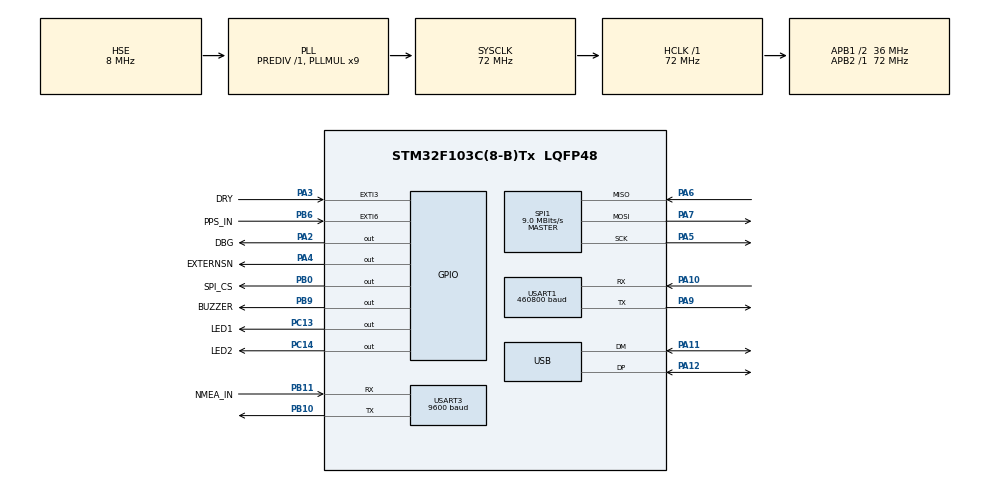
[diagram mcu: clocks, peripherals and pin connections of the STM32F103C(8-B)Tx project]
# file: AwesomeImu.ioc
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Dma.Request0=USART1_TX
Dma.USART1_TX.0.Direction=DMA_MEMORY_TO_PERIPH
Dma.USART1_TX.0.Instance=DMA1_Channel4
Dma.USART1_TX.0.MemDataAlignment=DMA_MDATAALIGN_BYTE
Dma.USART1_TX.0.MemInc=DMA_MINC_ENABLE
Dma.USART1_TX.0.Mode=DMA_NORMAL
Dma.USART1_TX.0.PeriphDataAlignment=DMA_PDATAALIGN_BYTE
Dma.USART1_TX.0.PeriphInc=DMA_PINC_DISABLE
Dma.USART1_TX.0.Priority=DMA_PRIORITY_LOW
Mcu.Family=STM32F1
Mcu.Name=STM32F103C(8-B)Tx
Mcu.Package=LQFP48
NVIC.DMA1_Channel4_IRQn=true\:0\:0\:false\:false\:true\:false\:true\:true
NVIC.EXTI3_IRQn=true\:0\:0\:false\:false\:true\:true\:true\:true
NVIC.PriorityGroup=NVIC_PRIORITYGROUP_4
NVIC.TIM2_IRQn=true\:0\:0\:false\:false\:true\:true\:true\:true
NVIC.USART1_IRQn=true\:0\:0\:false\:false\:true\:true\:true\:true
NVIC.USART3_IRQn=true\:3\:0\:false\:false\:true\:true\:true\:true
NVIC.USB_LP_CAN1_RX0_IRQn=true\:2\:0\:false\:false\:true\:false\:true\:true
PA10.Mode=Asynchronous
PA10.Signal=USART1_RX
PA11.Mode=Device
PA11.Signal=USB_DM
PA12.Mode=Device
PA12.Signal=USB_DP
PA13.Mode=Serial_Wire
PA13.Signal=SYS_JTMS-SWDIO
PA14.Mode=Serial_Wire
PA14.Signal=SYS_JTCK-SWCLK
PA2.GPIO_Label=DBG
PA2.Signal=GPIO_Output
PA3.GPIO_Label=DRY
PA3.Signal=GPXTI3
PA4.GPIO_Label=EXTERNSN
PA4.Signal=GPIO_Output
PA5.Mode=Full_Duplex_Master
PA5.Signal=SPI1_SCK
PA6.Mode=Full_Duplex_Master
PA6.Signal=SPI1_MISO
PA7.Mode=Full_Duplex_Master
PA7.Signal=SPI1_MOSI
PA9.Mode=Asynchronous
PA9.Signal=USART1_TX
PB0.GPIO_Label=SPI_CS
PB0.Signal=GPIO_Output
PB10.Mode=Asynchronous
PB10.Signal=USART3_TX
PB11.GPIO_Label=NMEA_IN
PB11.Mode=Asynchronous
PB11.Signal=USART3_RX
PB6.GPIO_Label=PPS_IN
PB6.GPIO_PuPd=GPIO_PULLDOWN
PB6.Signal=GPXTI6
PB9.GPIO_Label=BUZZER
PB9.Signal=GPIO_Output
PC13-TAMPER-RTC.GPIO_Label=LED1
PC13-TAMPER-RTC.Signal=GPIO_Output
PC14-OSC32_IN.GPIO_Label=LED2
PC14-OSC32_IN.Signal=GPIO_Output
PD0-OSC_IN.Mode=HSE-External-Oscillator
PD0-OSC_IN.Signal=RCC_OSC_IN
PD1-OSC_OUT.Mode=HSE-External-Oscillator
PD1-OSC_OUT.Signal=RCC_OSC_OUT
ProjectManager.HeapSize=0x200
ProjectManager.StackSize=0x400
ProjectManager.TargetToolchain=CMake
RCC.AHBFreq_Value=72000000
RCC.APB1CLKDivider=RCC_HCLK_DIV2
RCC.APB1Freq_Value=36000000
RCC.APB1TimFreq_Value=72000000
RCC.APB2Freq_Value=72000000
RCC.APB2TimFreq_Value=72000000
RCC.HCLKFreq_Value=72000000
RCC.PLLMUL=RCC_PLL_MUL9
RCC.PLLSourceVirtual=RCC_PLLSOURCE_HSE
RCC.SYSCLKFreq_VALUE=72000000
RCC.SYSCLKSource=RCC_SYSCLKSOURCE_PLLCLK
RCC.USBFreq_Value=48000000
RCC.USBPrescaler=RCC_USBCLKSOURCE_PLL_DIV1_5
SPI1.BaudRatePrescaler=SPI_BAUDRATEPRESCALER_8
SPI1.CLKPhase=SPI_PHASE_1EDGE
SPI1.CLKPolarity=SPI_POLARITY_LOW
SPI1.CRCCalculation=SPI_CRCCALCULATION_DISABLE
SPI1.CalculateBaudRate=9.0 MBits/s
SPI1.DataSize=SPI_DATASIZE_16BIT
SPI1.Direction=SPI_DIRECTION_2LINES
SPI1.FirstBit=SPI_FIRSTBIT_MSB
SPI1.Mode=SPI_MODE_MASTER
SPI1.VirtualType=VM_MASTER
TIM2.AutoReloadPreload=TIM_AUTORELOAD_PRELOAD_ENABLE
TIM2.Prescaler=64
USART1.BaudRate=460800
USART1.VirtualMode=VM_ASYNC
USART3.BaudRate=9600
USART3.Mode=MODE_RX
USART3.VirtualMode=VM_ASYNC
USB_DEVICE.CLASS_NAME_FS=CDC
USB_DEVICE.VirtualMode=Cdc
USB_DEVICE.VirtualMode-CDC_FS=Cdc
USB_DEVICE.VirtualModeFS=Cdc_FS
VP_RTC_VS_RTC_Activate.Mode=RTC_Enabled
VP_TIM2_VS_ClockSourceINT.Mode=Internal
VP_USB_DEVICE_VS_USB_DEVICE_CDC_FS.Mode=CDC_FS
board=custom

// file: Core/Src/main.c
/* USER CODE BEGIN Header */
/**
  ******************************************************************************
  * @file           : main.c
  * @brief          : Main program body
  ******************************************************************************
  * @attention
  *
  * Copyright (c) 2026 STMicroelectronics.
  * All rights reserved.
  *
  * This software is licensed under terms that can be found in the LICENSE file
  * in the root directory of this software component.
  * If no LICENSE file comes with this software, it is provided AS-IS.
  *
  ******************************************************************************
  */
/* USER CODE END Header */
#include "main.h"
#include "usb_device.h"

/* USER CODE BEGIN Includes */
#include "config.h"
#include "hw.h"
#include "SCH1.h"
#include "minmea.h"
#include "usbd_cdc_if.h"
#include <string.h>
/* USER CODE END Includes */

RTC_HandleTypeDef hrtc;

SPI_HandleTypeDef hspi1;

TIM_HandleTypeDef htim2;

UART_HandleTypeDef huart1;
UART_HandleTypeDef huart3;
DMA_HandleTypeDef hdma_usart1_tx;

/* USER CODE BEGIN PV */
volatile uint8_t  dry_flag = 0;
volatile uint32_t cyccnt_hi = 0;
volatile uint32_t cyccnt_prev = 0;
volatile uint64_t pps_posix_us = 0;
volatile uint64_t pps_cycles = 0;          // local cycle count at the last accepted PPS
volatile uint32_t pps_cycles_per_sec = 0;  // measured CPU clock, set to nominal in main
volatile uint64_t pending_posix_us = 0;
volatile uint64_t dry_timestamp_us = 0;
volatile uint8_t  dry_gps_status = 0;

// GPS sync status, sent with every sample (see README.md)
#define GPS_TIME_VALID  0x01  // locked to PPS at least once: timestamps are Unix time
#define GPS_PPS_OK      0x02  // last PPS accepted < 1.1 s ago; otherwise holding over
#define GPS_NMEA_OK     0x04  // valid RMC time received < 1 s ago
#define GPS_RATE_CAL    0x08  // CPU clock rate measured against PPS at least once
volatile uint8_t  gps_flags = 0;  // GPS_TIME_VALID and GPS_RATE_CAL, set by the PPS handler
volatile uint32_t pps_holdoff_count_ms = 0;
volatile uint32_t pps_nmea_age_ms = 0;
// Active buzzer from PB9 to GND: high = on. Beeps for
// BUZZER_BEEP_MS at each PPS pulse; SysTick counts down and turns it off.
#define BUZZER_BEEP_MS  100
volatile uint32_t buzzer_on_ms = 0;
static uint8_t nmea_rx_byte = 0;
static char    nmea_buf[100];
static uint8_t nmea_len = 0;
/* USER CODE END PV */

void SystemClock_Config(void);
static void MX_GPIO_Init(void);
static void MX_DMA_Init(void);
static void MX_RTC_Init(void);
static void MX_SPI1_Init(void);
static void MX_USART1_UART_Init(void);
static void MX_TIM2_Init(void);
static void MX_USART3_UART_Init(void);

/* USER CODE BEGIN 0 */
// CRC-8, polynomial 0x07, init 0. Table-driven: the bitwise version took ~60 us per packet.
static uint8_t crc8_table[256];

static void crc8_init(void)
{
    for (int i = 0; i < 256; i++) {
        uint8_t crc = (uint8_t)i;
        for (int j = 0; j < 8; j++)
            crc = (crc & 0x80) ? (crc << 1) ^ 0x07 : (crc << 1);
        crc8_table[i] = crc;
    }
}

static uint8_t crc8(const uint8_t *data, size_t len)
{
    uint8_t crc = 0;
    for (size_t i = 0; i < len; i++)
        crc = crc8_table[crc ^ data[i]];
    return crc;
}

// Extends the 32-bit DWT cycle counter to 64 bits. Every caller checks for the
// wrap itself, so a DRY/PPS interrupt that preempts SysTick right after the
// counter wraps still gets the right high word. Must be called at least once
// per wrap period (~59 s at 72 MHz); SysTick does that.
uint64_t get_local_cycles(void)
{
    uint32_t primask = __get_PRIMASK();
    __disable_irq();
    uint32_t cnt = DWT->CYCCNT;
    if (cnt < cyccnt_prev)
        cyccnt_hi++;
    cyccnt_prev = cnt;
    uint64_t cycles = ((uint64_t)cyccnt_hi << 32) | cnt;
    __set_PRIMASK(primask);
    return cycles;
}

// Converts local cycles since the last PPS to GPS time, using the CPU clock
// rate measured between PPS pulses instead of the nominal 72 MHz. Split into
// whole seconds and remainder so it cannot overflow however long PPS is lost.
static uint64_t local_to_posix_us(uint64_t cycles)
{
    uint64_t elapsed = cycles - pps_cycles;
    uint32_t cps     = pps_cycles_per_sec;
    uint64_t secs    = elapsed / cps;
    uint64_t rem     = elapsed % cps;
    return pps_posix_us + secs * 1000000ULL + rem * 1000000ULL / cps;
}
/* USER CODE END 0 */

int main(void)
{

  /* MCU Configuration--------------------------------------------------------*/

  /* Reset of all peripherals, Initializes the Flash interface and the Systick. */
  HAL_Init();

  /* Configure the system clock */
  SystemClock_Config();

  /* USER CODE BEGIN SysInit */
  // Before any EXTI is enabled: the DRY handler divides by this.
  pps_cycles_per_sec = SystemCoreClock;

  // The board has a fixed D+ pull-up, so hold D+ low briefly to make the host
  // re-enumerate after a reset or flash without replugging the cable.
  __HAL_RCC_GPIOA_CLK_ENABLE();
  GPIO_InitTypeDef usb_dp = {
    .Pin   = GPIO_PIN_12,
    .Mode  = GPIO_MODE_OUTPUT_PP,
    .Speed = GPIO_SPEED_FREQ_LOW,
  };
  HAL_GPIO_WritePin(GPIOA, GPIO_PIN_12, GPIO_PIN_RESET);
  HAL_GPIO_Init(GPIOA, &usb_dp);
  HAL_Delay(10);
  HAL_GPIO_DeInit(GPIOA, GPIO_PIN_12);

  /* USER CODE END SysInit */

  /* Initialize all configured peripherals */
  MX_GPIO_Init();
  MX_DMA_Init();
  MX_RTC_Init();
  MX_SPI1_Init();
  MX_USART1_UART_Init();
  MX_TIM2_Init();
  MX_USART3_UART_Init();
  MX_USB_DEVICE_Init();
  /* USER CODE BEGIN 2 */
  HAL_NVIC_SetPriority(EXTI9_5_IRQn, 0, 0);
  HAL_NVIC_EnableIRQ(EXTI9_5_IRQn);
  CoreDebug->DEMCR |= CoreDebug_DEMCR_TRCENA_Msk;
  // CYCCNT survives a system reset and SysTick has already sampled it, so reset
  // the extension state together with it or the next read looks like a wrap.
  __disable_irq();
  DWT->CYCCNT = 0;
  cyccnt_prev = 0;
  cyccnt_hi   = 0;
  __enable_irq();
  DWT->CTRL  |= DWT_CTRL_CYCCNTENA_Msk;
  HAL_UART_Receive_IT(&huart3, &nmea_rx_byte, 1);
  /* USER CODE END 2 */

  /* Infinite loop */
  /* USER CODE BEGIN WHILE */
  hw_init();

  SCH1_filter Filter = {
    .Rate12 = FILTER_RATE,
    .Acc12  = FILTER_ACC12,
    .Acc3   = FILTER_ACC3,
  };
  SCH1_sensitivity Sensitivity = {
    .Rate1 = SENSITIVITY_RATE1,
    .Rate2 = SENSITIVITY_RATE2,
    .Acc1  = SENSITIVITY_ACC1,
    .Acc2  = SENSITIVITY_ACC2,
    .Acc3  = SENSITIVITY_ACC3,
  };
  SCH1_decimation Decimation = {
    .Rate2 = DECIMATION_RATE,
    .Acc2  = DECIMATION_ACC,
  };

  int init_status;
  do {
    init_status = SCH1_init(Filter, Sensitivity, Decimation, true);
    if (init_status != SCH1_OK) {
      HAL_UART_Transmit(&huart1, (uint8_t*)"SCH1 NOK\r\n", 10, 500);
    }

  } while (init_status != SCH1_OK);

  HAL_UART_Transmit(&huart1, (uint8_t*)"SCH1 OK\r\n", 9, 500);

  typedef struct __attribute__((packed)) {
    uint8_t  sync;
    uint64_t timestamp_us;
    int32_t  rate[3];
    int32_t  acc[3];
    int32_t  temp;
    uint8_t  gps_status;  // GPS_* flags
    uint8_t  crc;
  } imu_pkt_t;

  static imu_pkt_t pkt[2];
  // USB batches packets: one CDC transfer per packet caps out around 1500 packets/s,
  // so packets collect in one buffer while the other is being sent.
  enum { USB_BATCH_PKTS = 26 };   // 26 * 39 B = 1014 B per transfer
  static imu_pkt_t usb_buf[2][USB_BATCH_PKTS];
  uint8_t  usb_fill = 0;
  uint16_t usb_count = 0;
  uint8_t pkt_idx = 0;
  SCH1_raw_data SCH1_data;
  crc8_init();

  while (1)
  {
    while (!dry_flag);
    // Take the timestamp together with the flag: the next DRY can arrive while
    // the SPI read below is running and would overwrite dry_timestamp_us.
    __disable_irq();
    dry_flag = 0;
    uint64_t timestamp_us = dry_timestamp_us;
    uint8_t  gps_status   = dry_gps_status;
    __enable_irq();

    SCH1_getData(&SCH1_data);
    if (!SCH1_data.frame_error) {
      uint8_t next = pkt_idx ^ 1;
      pkt[next].sync         = 0xAA;
      pkt[next].timestamp_us = timestamp_us;
      pkt[next].gps_status   = gps_status;
      pkt[next].rate[0] = SCH1_data.Rate2_raw[AXIS_X];
      pkt[next].rate[1] = SCH1_data.Rate2_raw[AXIS_Y];
      pkt[next].rate[2] = SCH1_data.Rate2_raw[AXIS_Z];
      pkt[next].acc[0]  = SCH1_data.Acc2_raw[AXIS_X];
      pkt[next].acc[1]  = SCH1_data.Acc2_raw[AXIS_Y];
      pkt[next].acc[2]  = SCH1_data.Acc2_raw[AXIS_Z];
      pkt[next].temp    = SCH1_data.Temp_raw;
      static uint16_t t = 0;
      if (t++ % 100 == 0) {
        HAL_GPIO_TogglePin(LED2_GPIO_Port, LED2_Pin);
      }

      pkt[next].crc = crc8((uint8_t*)&pkt[next], offsetof(imu_pkt_t, crc));

      if (huart1.gState == HAL_UART_STATE_READY) {
        pkt_idx = next;
        HAL_UART_Transmit_DMA(&huart1, (uint8_t*)&pkt[pkt_idx], sizeof(imu_pkt_t));
      }

      // A full batch means the host is not reading; drop rather than block the sensor loop
      if (usb_count < USB_BATCH_PKTS)
        usb_buf[usb_fill][usb_count++] = pkt[next];
      if (usb_count > 0 && CDC_IsTxReady_FS()) {
        CDC_Transmit_FS((uint8_t*)usb_buf[usb_fill], usb_count * sizeof(imu_pkt_t));
        usb_fill ^= 1;
        usb_count = 0;
      }
    }
    /* USER CODE END WHILE */

  }
}

void SystemClock_Config(void)
{
  RCC_OscInitTypeDef RCC_OscInitStruct = {0};
  RCC_ClkInitTypeDef RCC_ClkInitStruct = {0};
  RCC_PeriphCLKInitTypeDef PeriphClkInit = {0};

  /** Initializes the RCC Oscillators according to the specified parameters
  * in the RCC_OscInitTypeDef structure.
  */
  RCC_OscInitStruct.OscillatorType = RCC_OSCILLATORTYPE_LSI|RCC_OSCILLATORTYPE_HSE;
  RCC_OscInitStruct.HSEState = RCC_HSE_ON;
  RCC_OscInitStruct.HSEPredivValue = RCC_HSE_PREDIV_DIV1;
  RCC_OscInitStruct.HSIState = RCC_HSI_ON;
  RCC_OscInitStruct.LSIState = RCC_LSI_ON;
  RCC_OscInitStruct.PLL.PLLState = RCC_PLL_ON;
  RCC_OscInitStruct.PLL.PLLSource = RCC_PLLSOURCE_HSE;
  RCC_OscInitStruct.PLL.PLLMUL = RCC_PLL_MUL9;
  if (HAL_RCC_OscConfig(&RCC_OscInitStruct) != HAL_OK)
  {
    Error_Handler();
  }

  /** Initializes the CPU, AHB and APB buses clocks
  */
  RCC_ClkInitStruct.ClockType = RCC_CLOCKTYPE_HCLK|RCC_CLOCKTYPE_SYSCLK
                              |RCC_CLOCKTYPE_PCLK1|RCC_CLOCKTYPE_PCLK2;
  RCC_ClkInitStruct.SYSCLKSource = RCC_SYSCLKSOURCE_PLLCLK;
  RCC_ClkInitStruct.AHBCLKDivider = RCC_SYSCLK_DIV1;
  RCC_ClkInitStruct.APB1CLKDivider = RCC_HCLK_DIV2;
  RCC_ClkInitStruct.APB2CLKDivider = RCC_HCLK_DIV1;

  if (HAL_RCC_ClockConfig(&RCC_ClkInitStruct, FLASH_LATENCY_2) != HAL_OK)
  {
    Error_Handler();
  }
  PeriphClkInit.PeriphClockSelection = RCC_PERIPHCLK_RTC|RCC_PERIPHCLK_USB;
  PeriphClkInit.RTCClockSelection = RCC_RTCCLKSOURCE_LSI;
  PeriphClkInit.UsbClockSelection = RCC_USBCLKSOURCE_PLL_DIV1_5;
  if (HAL_RCCEx_PeriphCLKConfig(&PeriphClkInit) != HAL_OK)
  {
    Error_Handler();
  }
}

static void MX_RTC_Init(void)
{

  /** Initialize RTC Only
  */
  hrtc.Instance = RTC;
  hrtc.Init.AsynchPrediv = RTC_AUTO_1_SECOND;
  hrtc.Init.OutPut = RTC_OUTPUTSOURCE_ALARM;
  if (HAL_RTC_Init(&hrtc) != HAL_OK)
  {
    Error_Handler();
  }

}

static void MX_SPI1_Init(void)
{

  /* SPI1 parameter configuration*/
  hspi1.Instance = SPI1;
  hspi1.Init.Mode = SPI_MODE_MASTER;
  hspi1.Init.Direction = SPI_DIRECTION_2LINES;
  hspi1.Init.DataSize = SPI_DATASIZE_16BIT;
  hspi1.Init.CLKPolarity = SPI_POLARITY_LOW;
  hspi1.Init.CLKPhase = SPI_PHASE_1EDGE;
  hspi1.Init.NSS = SPI_NSS_SOFT;
  hspi1.Init.BaudRatePrescaler = SPI_BAUDRATEPRESCALER_8;
  hspi1.Init.FirstBit = SPI_FIRSTBIT_MSB;
  hspi1.Init.TIMode = SPI_TIMODE_DISABLE;
  hspi1.Init.CRCCalculation = SPI_CRCCALCULATION_DISABLE;
  hspi1.Init.CRCPolynomial = 10;
  if (HAL_SPI_Init(&hspi1) != HAL_OK)
  {
    Error_Handler();
  }

}

static void MX_TIM2_Init(void)
{

  TIM_ClockConfigTypeDef sClockSourceConfig = {0};
  TIM_MasterConfigTypeDef sMasterConfig = {0};

  htim2.Instance = TIM2;
  htim2.Init.Prescaler = 64;
  htim2.Init.CounterMode = TIM_COUNTERMODE_UP;
  htim2.Init.Period = 65535;
  htim2.Init.ClockDivision = TIM_CLOCKDIVISION_DIV1;
  htim2.Init.AutoReloadPreload = TIM_AUTORELOAD_PRELOAD_ENABLE;
  if (HAL_TIM_Base_Init(&htim2) != HAL_OK)
  {
    Error_Handler();
  }
  sClockSourceConfig.ClockSource = TIM_CLOCKSOURCE_INTERNAL;
  if (HAL_TIM_ConfigClockSource(&htim2, &sClockSourceConfig) != HAL_OK)
  {
    Error_Handler();
  }
  sMasterConfig.MasterOutputTrigger = TIM_TRGO_RESET;
  sMasterConfig.MasterSlaveMode = TIM_MASTERSLAVEMODE_DISABLE;
  if (HAL_TIMEx_MasterConfigSynchronization(&htim2, &sMasterConfig) != HAL_OK)
  {
    Error_Handler();
  }

}

static void MX_USART1_UART_Init(void)
{

  huart1.Instance = USART1;
  huart1.Init.BaudRate = 460800;
  huart1.Init.WordLength = UART_WORDLENGTH_8B;
  huart1.Init.StopBits = UART_STOPBITS_1;
  huart1.Init.Parity = UART_PARITY_NONE;
  huart1.Init.Mode = UART_MODE_TX_RX;
  huart1.Init.HwFlowCtl = UART_HWCONTROL_NONE;
  huart1.Init.OverSampling = UART_OVERSAMPLING_16;
  if (HAL_UART_Init(&huart1) != HAL_OK)
  {
    Error_Handler();
  }

}

static void MX_USART3_UART_Init(void)
{

  huart3.Instance = USART3;
  huart3.Init.BaudRate = 9600;
  huart3.Init.WordLength = UART_WORDLENGTH_8B;
  huart3.Init.StopBits = UART_STOPBITS_1;
  huart3.Init.Parity = UART_PARITY_NONE;
  huart3.Init.Mode = UART_MODE_RX;
  huart3.Init.HwFlowCtl = UART_HWCONTROL_NONE;
  huart3.Init.OverSampling = UART_OVERSAMPLING_16;
  if (HAL_UART_Init(&huart3) != HAL_OK)
  {
    Error_Handler();
  }

}

static void MX_DMA_Init(void)
{

  /* DMA controller clock enable */
  __HAL_RCC_DMA1_CLK_ENABLE();

  /* DMA interrupt init */
  /* DMA1_Channel4_IRQn interrupt configuration */
  HAL_NVIC_SetPriority(DMA1_Channel4_IRQn, 0, 0);
  HAL_NVIC_EnableIRQ(DMA1_Channel4_IRQn);

}

static void MX_GPIO_Init(void)
{
  GPIO_InitTypeDef GPIO_InitStruct = {0};

  /* GPIO Ports Clock Enable */
  __HAL_RCC_GPIOC_CLK_ENABLE();
  __HAL_RCC_GPIOD_CLK_ENABLE();
  __HAL_RCC_GPIOA_CLK_ENABLE();
  __HAL_RCC_GPIOB_CLK_ENABLE();

  /*Configure GPIO pin Output Level */
  HAL_GPIO_WritePin(GPIOC, LED1_Pin|LED2_Pin, GPIO_PIN_RESET);

  /*Configure GPIO pin Output Level */
  HAL_GPIO_WritePin(GPIOA, DBG_Pin|EXTERNSN_Pin, GPIO_PIN_RESET);

  /*Configure GPIO pin Output Level */
  HAL_GPIO_WritePin(GPIOB, SPI_CS_Pin|BUZZER_Pin, GPIO_PIN_RESET);

  /*Configure GPIO pins : LED1_Pin LED2_Pin */
  GPIO_InitStruct.Pin = LED1_Pin|LED2_Pin;
  GPIO_InitStruct.Mode = GPIO_MODE_OUTPUT_PP;
  GPIO_InitStruct.Pull = GPIO_NOPULL;
  GPIO_InitStruct.Speed = GPIO_SPEED_FREQ_LOW;
  HAL_GPIO_Init(GPIOC, &GPIO_InitStruct);

  /*Configure GPIO pins : DBG_Pin EXTERNSN_Pin */
  GPIO_InitStruct.Pin = DBG_Pin|EXTERNSN_Pin;
  GPIO_InitStruct.Mode = GPIO_MODE_OUTPUT_PP;
  GPIO_InitStruct.Pull = GPIO_NOPULL;
  GPIO_InitStruct.Speed = GPIO_SPEED_FREQ_LOW;
  HAL_GPIO_Init(GPIOA, &GPIO_InitStruct);

  /*Configure GPIO pin : DRY_Pin */
  GPIO_InitStruct.Pin = DRY_Pin;
  GPIO_InitStruct.Mode = GPIO_MODE_IT_RISING;
  GPIO_InitStruct.Pull = GPIO_NOPULL;
  HAL_GPIO_Init(DRY_GPIO_Port, &GPIO_InitStruct);

  /*Configure GPIO pins : SPI_CS_Pin BUZZER_Pin */
  GPIO_InitStruct.Pin = SPI_CS_Pin|BUZZER_Pin;
  GPIO_InitStruct.Mode = GPIO_MODE_OUTPUT_PP;
  GPIO_InitStruct.Pull = GPIO_NOPULL;
  GPIO_InitStruct.Speed = GPIO_SPEED_FREQ_LOW;
  HAL_GPIO_Init(GPIOB, &GPIO_InitStruct);

  /*Configure GPIO pin : PPS_IN_Pin */
  GPIO_InitStruct.Pin = PPS_IN_Pin;
  GPIO_InitStruct.Mode = GPIO_MODE_IT_RISING;
  GPIO_InitStruct.Pull = GPIO_PULLDOWN;
  HAL_GPIO_Init(PPS_IN_GPIO_Port, &GPIO_InitStruct);

  /* EXTI interrupt init*/
  HAL_NVIC_SetPriority(EXTI3_IRQn, 0, 0);
  HAL_NVIC_EnableIRQ(EXTI3_IRQn);

}

/* USER CODE BEGIN 4 */
void HAL_GPIO_EXTI_Callback(uint16_t GPIO_Pin)
{
  if (GPIO_Pin == DRY_Pin) {

    dry_timestamp_us = local_to_posix_us(get_local_cycles());
    uint8_t status = gps_flags;
    if ((status & GPS_TIME_VALID) && pps_holdoff_count_ms < 1100)
      status |= GPS_PPS_OK;
    if (pps_nmea_age_ms < 1000)
      status |= GPS_NMEA_OK;
    dry_gps_status = status;
    dry_flag = 1;
    return;
  }
  // accept pps only:
  //  - if PPS_IN_Pin is high
  //  - there is more than 900 ms from last pps
  //  - nmea message is not older than 1000 ms
  if (GPIO_Pin == PPS_IN_Pin && pps_holdoff_count_ms > 900 && pps_nmea_age_ms < 999) {
    uint64_t cycles = get_local_cycles();
    // The newest RMC is from the second before this pulse, but at NMEA rates
    // above 1 Hz it can be stamped .2/.4/.6/.8, so round down before adding 1 s.
    uint64_t posix_us = (pending_posix_us / 1000000ULL + 1ULL) * 1000000ULL;

    // Measure the CPU clock against GPS when the previous pulse was exactly 1 s
    // earlier. Reject anything over 200 ppm off nominal (missed or false pulse)
    // and smooth by 1/8 to average out PPS and interrupt latency jitter.
    if (posix_us - pps_posix_us == 1000000ULL) {
      uint64_t measured = cycles - pps_cycles;
      uint32_t nominal  = SystemCoreClock;
      uint32_t limit    = nominal / 5000U;
      if (measured > nominal - limit && measured < nominal + limit) {
        int32_t error = (int32_t)((uint32_t)measured - pps_cycles_per_sec);
        pps_cycles_per_sec += error / 8;
        gps_flags |= GPS_RATE_CAL;
      }
    }
    pps_cycles   = cycles;
    pps_posix_us = posix_us;
    pps_holdoff_count_ms = 0;
    gps_flags |= GPS_TIME_VALID;

  }
  // Beep on every pulse, after the timestamp is taken so it doesn't delay it
  if (GPIO_Pin == PPS_IN_Pin) {
    HAL_GPIO_WritePin(BUZZER_GPIO_Port, BUZZER_Pin, GPIO_PIN_SET);  // on
    buzzer_on_ms = BUZZER_BEEP_MS;
  }
}

void HAL_UART_RxCpltCallback(UART_HandleTypeDef *huart)
{
  if (huart->Instance == USART3) {
    char c = (char)nmea_rx_byte;
    if (c == '$') nmea_len = 0;
    if (nmea_len < sizeof(nmea_buf) - 1)
      nmea_buf[nmea_len++] = c;
    if (c == '\n' && nmea_len > 6) {
      nmea_buf[nmea_len] = '\0';
      if (minmea_sentence_id(nmea_buf) == MINMEA_SENTENCE_RMC) {
        struct minmea_sentence_rmc rmc;
        if (minmea_parse_rmc(&rmc, nmea_buf) && rmc.valid) {
          struct timeval tv;
          if (minmea_gettimeofday(&tv, &rmc.date, &rmc.time) == 0) {
            // PPS preempts this handler, so update both together or it could
            // see a fresh age with a stale or half-written 64-bit time.
            __disable_irq();
            pending_posix_us = (uint64_t)tv.tv_sec * 1000000ULL + tv.tv_usec;
            pps_nmea_age_ms  = 0;
            __enable_irq();
          }
        }
      }
    }
    HAL_UART_Receive_IT(&huart3, &nmea_rx_byte, 1);
  }
}
/* USER CODE END 4 */

void Error_Handler(void)
{
  /* USER CODE BEGIN Error_Handler_Debug */
  /* User can add his own implementation to report the HAL error return state */
  __disable_irq();
  while (1)
  {
    HAL_GPIO_TogglePin(LED1_GPIO_Port, LED1_Pin);
  }
  /* USER CODE END Error_Handler_Debug */
}
